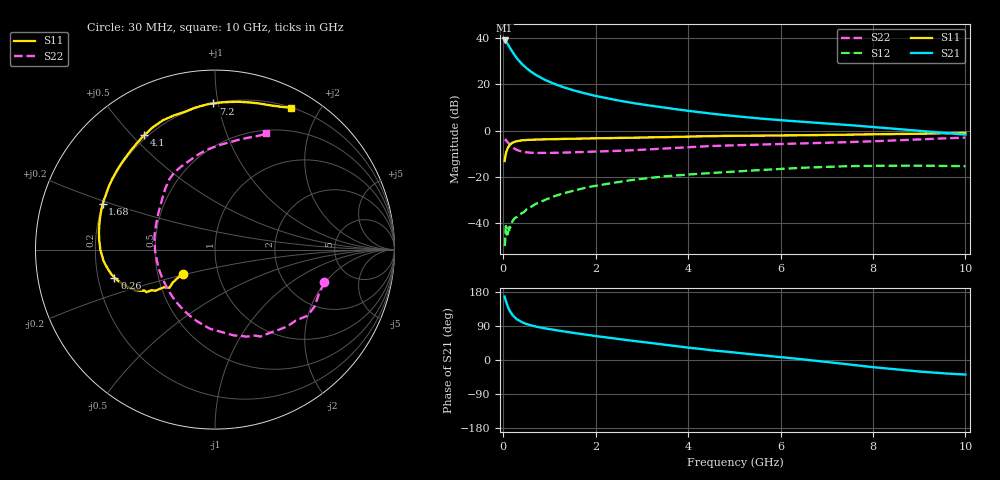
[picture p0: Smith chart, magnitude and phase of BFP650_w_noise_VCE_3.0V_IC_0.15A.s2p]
! Infineon Technologies  Discrete & RF Semiconductors
! BFP650
! VCE =  3.0 V,  IC = 0.15 A
! Common Emitter S-Parameters:  Jan 2016
# GHz  S  MA  R  50
!  f  S11  S21  S12  S22
! GHz  MAG  ANG  MAG  ANG  MAG  ANG  MAG  ANG
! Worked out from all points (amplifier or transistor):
!   229 points, 30 MHz to 10 GHz, reference 50 ohm
!   highest |S21| = 39.0 dB at 30 MHz (marker M1)
!   |S21| within 3 dB of that: start of sweep to 139.8 MHz
!   unconditionally stable (mu >= 1): start of sweep to 31.06 MHz; 792.4 MHz to end of sweep
!   at 280 MHz: K = 0.80, MSG = 34.6 dB, |S12| = -37.5 dB
!   at 1.78 GHz: K = 1.05, MAG = 19.0 dB, |S12| = -24.6 dB
!   at 10 GHz: K = 1.04, MAG = 5.6 dB, |S12| = -15.3 dB
!   lowest NFmin = 1.88 dB at 450 MHz
!   S11 on the Smith chart (normalised r, x): 30 MHz: 0.68, -0.19; 260 MHz: 0.27, -0.13; 1.68 GHz: 0.20, +0.19; 4.1 GHz: 0.19, +0.54; 7.2 GHz: 0.20, +0.97; 10 GHz: 0.21, +1.65
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0.03  0.221 -142.8  88.95 167.4  0.0032 58.5  0.6369 -16.7
0.05  0.2994 -142.0  85.43 158.5  0.0073 55.8  0.6391 -29.7
0.07  0.3543 -143.6  81.53 150.8  0.0057 68.5  0.5996 -41.2
0.085  0.391 -145.0  77.55 145.4  0.0059 63.9  0.5786 -49.0
0.11  0.45 -148.2  70.72 137.5  0.008 78.1  0.5467 -62.3
0.15  0.5026 -153.4  60.49 127.7  0.0081 58.8  0.491 -77.3
0.2  0.549 -159.4  50.22 118.6  0.0111 64.7  0.4421 -93.6
0.26  0.5815 -164.4  41.09 111.2  0.0131 63.7  0.4018 -108.1
0.3  0.5958 -167.2  36.28 107.2  0.0136 64.1  0.3828 -116.1
0.4  0.6173 -172.4  27.92 100.1  0.0166 63.8  0.3552 -131.2
0.5  0.6288 -176.5  22.56 95.1  0.0198 66.1  0.341 -142.2
0.7  0.6424 177.5  16.16 88.4  0.0261 66.6  0.3316 -157.6
1.1  0.6575 168.6  10.29 79.4  0.0381 64.1  0.3322 -176.1
1.68  0.6754 158.0  6.737 68.8  0.0555 59.6  0.3443 167.9
1.7  0.676 157.6  6.653 68.4  0.0561 59.5  0.3448 167.4
3.4  0.7214 131.4  3.233 41.7  0.1007 39.8  0.4065 136.5
4.1  0.749 121.8  2.611 31.4  0.1148 32.0  0.4455 127.5
5.1  0.7775 110.9  2.02 18.5  0.133 22.1  0.4879 116.8
6.8  0.8049 95.1  1.481 -2.4  0.1628 4.6  0.5423 98.7
7.2  0.8143 90.7  1.388 -7.9  0.168 -0.0  0.5559 94.9
8.4  0.8443 75.9  1.115 -23.7  0.175 -13.2  0.6112 80.8
10  0.8961 61.9  0.824 -38.5  0.1712 -26.1  0.7067 66.3
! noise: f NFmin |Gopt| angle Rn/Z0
0.45  1.88  0.66  -171  0.06
0.9  1.91  0.67  -164  0.07
1.9  2.19  0.7  -149  0.14
2.4  2.45  0.69  -139  0.22
3.5  2.88  0.69  -118  0.56
